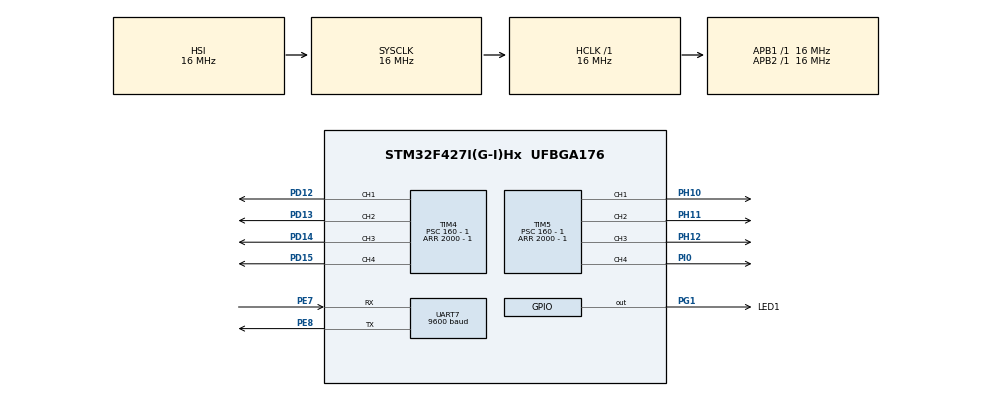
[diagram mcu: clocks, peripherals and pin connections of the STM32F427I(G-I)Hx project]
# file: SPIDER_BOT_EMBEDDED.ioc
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Mcu.Family=STM32F4
Mcu.Name=STM32F427I(G-I)Hx
Mcu.Package=UFBGA176
NVIC.PriorityGroup=NVIC_PRIORITYGROUP_4
NVIC.TIM1_BRK_TIM9_IRQn=true\:0\:0\:false\:false\:true\:true\:true\:true
NVIC.UART7_IRQn=true\:0\:0\:false\:false\:true\:true\:true\:true
PD12.Signal=S_TIM4_CH1
PD13.Signal=S_TIM4_CH2
PD14.Signal=S_TIM4_CH3
PD15.Signal=S_TIM4_CH4
PE7.Mode=Asynchronous
PE7.Signal=UART7_RX
PE8.Mode=Asynchronous
PE8.Signal=UART7_TX
PG1.GPIO_Label=LED1
PG1.Signal=GPIO_Output
PH10.Signal=S_TIM5_CH1
PH11.Signal=S_TIM5_CH2
PH12.Signal=S_TIM5_CH3
PI0.Signal=S_TIM5_CH4
ProjectManager.HeapSize=0x200
ProjectManager.StackSize=0x400
ProjectManager.TargetToolchain=Makefile
RCC.AHBFreq_Value=16000000
RCC.APB1Freq_Value=16000000
RCC.APB2Freq_Value=16000000
RCC.CortexFreq_Value=16000000
RCC.HSE_VALUE=25000000
RCC.HSI_VALUE=16000000
RCC.LSE_VALUE=32768
RCC.SYSCLKFreq_VALUE=16000000
RCC.VCOOutputFreq_Value=192000000
SH.S_TIM4_CH1.0=TIM4_CH1,PWM Generation1 CH1
SH.S_TIM4_CH2.0=TIM4_CH2,PWM Generation2 CH2
SH.S_TIM4_CH3.0=TIM4_CH3,PWM Generation3 CH3
SH.S_TIM4_CH4.0=TIM4_CH4,PWM Generation4 CH4
SH.S_TIM5_CH1.0=TIM5_CH1,PWM Generation1 CH1
SH.S_TIM5_CH2.0=TIM5_CH2,PWM Generation2 CH2
SH.S_TIM5_CH3.0=TIM5_CH3,PWM Generation3 CH3
SH.S_TIM5_CH4.0=TIM5_CH4,PWM Generation4 CH4
TIM4.Channel-PWM\ Generation1\ CH1=TIM_CHANNEL_1
TIM4.Channel-PWM\ Generation2\ CH2=TIM_CHANNEL_2
TIM4.Channel-PWM\ Generation3\ CH3=TIM_CHANNEL_3
TIM4.Channel-PWM\ Generation4\ CH4=TIM_CHANNEL_4
TIM4.Period=2000 - 1
TIM4.Prescaler=160 - 1
TIM4.Pulse-PWM\ Generation1\ CH1=150
TIM4.Pulse-PWM\ Generation2\ CH2=150
TIM4.Pulse-PWM\ Generation3\ CH3=150
TIM4.Pulse-PWM\ Generation4\ CH4=150
TIM5.Channel-PWM\ Generation1\ CH1=TIM_CHANNEL_1
TIM5.Channel-PWM\ Generation2\ CH2=TIM_CHANNEL_2
TIM5.Channel-PWM\ Generation3\ CH3=TIM_CHANNEL_3
TIM5.Channel-PWM\ Generation4\ CH4=TIM_CHANNEL_4
TIM5.Period=2000 - 1
TIM5.Prescaler=160 - 1
TIM5.Pulse-PWM\ Generation1\ CH1=150
TIM5.Pulse-PWM\ Generation2\ CH2=150
TIM5.Pulse-PWM\ Generation3\ CH3=150
TIM5.Pulse-PWM\ Generation4\ CH4=150
TIM9.AutoReloadPreload=TIM_AUTORELOAD_PRELOAD_ENABLE
TIM9.Period=100
TIM9.Prescaler=1600
UART7.BaudRate=9600
UART7.VirtualMode=Asynchronous
VP_TIM9_VS_ClockSourceINT.Mode=Internal
board=custom

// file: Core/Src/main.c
/* USER CODE BEGIN Header */
/**
 ******************************************************************************
 * @file           : main.c
 * @brief          : Main program body
 ******************************************************************************
 * @attention
 *
 * Copyright (c) 2023 STMicroelectronics.
 * All rights reserved.
 *
 * This software is licensed under terms that can be found in the LICENSE file
 * in the root directory of this software component.
 * If no LICENSE file comes with this software, it is provided AS-IS.
 *
 ******************************************************************************
 */
/* USER CODE END Header */
#include "main.h"

/* USER CODE BEGIN Includes */
#include <stdint.h>
/* USER CODE END Includes */

TIM_HandleTypeDef htim4;
TIM_HandleTypeDef htim5;
TIM_HandleTypeDef htim9;

UART_HandleTypeDef huart7;

/* USER CODE BEGIN PV */
struct Servo
{
  uint8_t minPulse;
  uint8_t maxPulse;
  TIM_HandleTypeDef *timerHandle;
  uint32_t timerChannel;
  uint8_t setPulse;
  uint8_t setAngle;
};

/*
 1 | 2
 -----
 3 | 4
*/
struct Servo wrists[4] = {{55, 130, &htim5, TIM_CHANNEL_1}, {175, 248, &htim5, TIM_CHANNEL_2}, {51, 140, &htim5, TIM_CHANNEL_3}, {80, 175, &htim5, TIM_CHANNEL_4}};
struct Servo legs[4] = {{81, 160, &htim4, TIM_CHANNEL_1}, {69, 210, &htim4, TIM_CHANNEL_2}, {51, 171, &htim4, TIM_CHANNEL_3}, {90, 247, &htim4, TIM_CHANNEL_4}};
/* USER CODE END PV */

void SystemClock_Config(void);
static void MX_GPIO_Init(void);
static void MX_TIM5_Init(void);
static void MX_TIM4_Init(void);
static void MX_TIM9_Init(void);
static void MX_UART7_Init(void);

/* USER CODE BEGIN 0 */
enum ServoType
{
  SERVO_TYPE_WRIST = 0,
  SERVO_TYPE_LEG = 1
};

void servoToAngle(int angle, struct Servo *servo);
void waveHand(void);

static volatile uint8_t rx[15] = {0};
/* USER CODE END 0 */

int main(void)
{

  /* MCU Configuration--------------------------------------------------------*/

  /* Reset of all peripherals, Initializes the Flash interface and the Systick. */
  HAL_Init();

  /* Configure the system clock */
  SystemClock_Config();

  /* Initialize all configured peripherals */
  MX_GPIO_Init();
  MX_TIM5_Init();
  MX_TIM4_Init();
  MX_TIM9_Init();
  MX_UART7_Init();

  /* Infinite loop */
  /* USER CODE BEGIN WHILE */
  HAL_TIM_Base_Start_IT(&htim9);
  static volatile uint16_t calibSetPulse[8] = {0};
  static volatile uint8_t setAngle[8] = {0};
  for (int i = 0; i < 4; i++)
  {
    HAL_TIM_PWM_Start(wrists[i].timerHandle, wrists[i].timerChannel);
    HAL_TIM_PWM_Start(legs[i].timerHandle, legs[i].timerChannel);
    calibSetPulse[i] = wrists[i].minPulse;
    calibSetPulse[i + 4] = legs[i].minPulse;

    setAngle[i] = setAngle[i + 4] = 45;
  }

  static volatile uint64_t cnt = 0;
  static volatile uint8_t heartBeat = 0;

  HAL_UART_Receive_IT(&huart7, (uint8_t *)rx, 12);

  // wrists[0].setAngle = 90;
  // wrists[1].setAngle = 0;
  // wrists[2].setAngle = 45;
  // wrists[3].setAngle = 45;
  // legs[0].setAngle = 10;
  // legs[1].setAngle = 10;
  // legs[2].setAngle = 10;
  // legs[3].setAngle = 90 - 10;

  // HAL_Delay(2000);

  // waveHand();

  wrists[0].setAngle = 90;
  wrists[1].setAngle = 0;
  wrists[2].setAngle = 45;
  wrists[3].setAngle = 45;
  legs[0].setAngle = 10;
  legs[1].setAngle = 10;
  legs[2].setAngle = 10;
  legs[3].setAngle = 90 - 10;

  HAL_Delay(5000);

  // legs[0].setAngle = 60;

  HAL_Delay(150);

  wrists[0].setAngle = 0;

  HAL_Delay(300);

  // legs[0].setAngle = 0;

  HAL_Delay(300);

  // legs[2].setAngle = 60;

  HAL_Delay(150);

  wrists[2].setAngle = 90;

  HAL_Delay(300);

  // legs[2].setAngle = 0;

  HAL_Delay(300);

  while (1)
  {
    /* USER CODE END WHILE */

    /* USER CODE BEGIN 3 */
    cnt++;
    if (cnt % 1000 == 0)
    {
      heartBeat++;
      HAL_UART_Transmit(&huart7, (uint8_t *)&heartBeat, 1, 10);
    }

    // for (int i = 0; i < 4; i++)
    // {

    //   // __HAL_TIM_SET_COMPARE(legs[i].timerHandle, legs[i].timerChannel, calibSetPulse[i + 4]);
    // }

    // legs[0].setAngle = 60;

    HAL_Delay(150);

    wrists[0].setAngle = wrists[1].setAngle = 90;

    HAL_Delay(300);

    // legs[0].setAngle = 0;

    HAL_Delay(300);

    // legs[2].setAngle = 60;

    HAL_Delay(150);

    wrists[2].setAngle = wrists[3].setAngle = 0;

    HAL_Delay(300);

    // legs[2].setAngle = 0;

    HAL_Delay(300);

    // legs[0].setAngle = 60;

    HAL_Delay(150);

    wrists[0].setAngle = wrists[1].setAngle = 0;

    HAL_Delay(300);

    // legs[0].setAngle = 0;

    HAL_Delay(300);

    // legs[2].setAngle = 60;

    HAL_Delay(150);

    wrists[2].setAngle = wrists[3].setAngle = 90;

    HAL_Delay(300);

    // legs[2].setAngle = 0;

    HAL_Delay(300);
  }
  /* USER CODE END 3 */
}

void SystemClock_Config(void)
{
  RCC_OscInitTypeDef RCC_OscInitStruct = {0};
  RCC_ClkInitTypeDef RCC_ClkInitStruct = {0};

  /** Configure the main internal regulator output voltage
   */
  __HAL_RCC_PWR_CLK_ENABLE();
  __HAL_PWR_VOLTAGESCALING_CONFIG(PWR_REGULATOR_VOLTAGE_SCALE3);

  /** Initializes the RCC Oscillators according to the specified parameters
   * in the RCC_OscInitTypeDef structure.
   */
  RCC_OscInitStruct.OscillatorType = RCC_OSCILLATORTYPE_HSI;
  RCC_OscInitStruct.HSIState = RCC_HSI_ON;
  RCC_OscInitStruct.HSICalibrationValue = RCC_HSICALIBRATION_DEFAULT;
  RCC_OscInitStruct.PLL.PLLState = RCC_PLL_NONE;
  if (HAL_RCC_OscConfig(&RCC_OscInitStruct) != HAL_OK)
  {
    Error_Handler();
  }

  /** Initializes the CPU, AHB and APB buses clocks
   */
  RCC_ClkInitStruct.ClockType = RCC_CLOCKTYPE_HCLK | RCC_CLOCKTYPE_SYSCLK | RCC_CLOCKTYPE_PCLK1 | RCC_CLOCKTYPE_PCLK2;
  RCC_ClkInitStruct.SYSCLKSource = RCC_SYSCLKSOURCE_HSI;
  RCC_ClkInitStruct.AHBCLKDivider = RCC_SYSCLK_DIV1;
  RCC_ClkInitStruct.APB1CLKDivider = RCC_HCLK_DIV1;
  RCC_ClkInitStruct.APB2CLKDivider = RCC_HCLK_DIV1;

  if (HAL_RCC_ClockConfig(&RCC_ClkInitStruct, FLASH_LATENCY_0) != HAL_OK)
  {
    Error_Handler();
  }
}

static void MX_TIM4_Init(void)
{

  TIM_MasterConfigTypeDef sMasterConfig = {0};
  TIM_OC_InitTypeDef sConfigOC = {0};

  htim4.Instance = TIM4;
  htim4.Init.Prescaler = 160 - 1;
  htim4.Init.CounterMode = TIM_COUNTERMODE_UP;
  htim4.Init.Period = 2000 - 1;
  htim4.Init.ClockDivision = TIM_CLOCKDIVISION_DIV1;
  htim4.Init.AutoReloadPreload = TIM_AUTORELOAD_PRELOAD_DISABLE;
  if (HAL_TIM_PWM_Init(&htim4) != HAL_OK)
  {
    Error_Handler();
  }
  sMasterConfig.MasterOutputTrigger = TIM_TRGO_RESET;
  sMasterConfig.MasterSlaveMode = TIM_MASTERSLAVEMODE_DISABLE;
  if (HAL_TIMEx_MasterConfigSynchronization(&htim4, &sMasterConfig) != HAL_OK)
  {
    Error_Handler();
  }
  sConfigOC.OCMode = TIM_OCMODE_PWM1;
  sConfigOC.Pulse = 150;
  sConfigOC.OCPolarity = TIM_OCPOLARITY_HIGH;
  sConfigOC.OCFastMode = TIM_OCFAST_DISABLE;
  if (HAL_TIM_PWM_ConfigChannel(&htim4, &sConfigOC, TIM_CHANNEL_1) != HAL_OK)
  {
    Error_Handler();
  }
  if (HAL_TIM_PWM_ConfigChannel(&htim4, &sConfigOC, TIM_CHANNEL_2) != HAL_OK)
  {
    Error_Handler();
  }
  if (HAL_TIM_PWM_ConfigChannel(&htim4, &sConfigOC, TIM_CHANNEL_3) != HAL_OK)
  {
    Error_Handler();
  }
  if (HAL_TIM_PWM_ConfigChannel(&htim4, &sConfigOC, TIM_CHANNEL_4) != HAL_OK)
  {
    Error_Handler();
  }
  HAL_TIM_MspPostInit(&htim4);
}

static void MX_TIM5_Init(void)
{

  TIM_MasterConfigTypeDef sMasterConfig = {0};
  TIM_OC_InitTypeDef sConfigOC = {0};

  htim5.Instance = TIM5;
  htim5.Init.Prescaler = 160 - 1;
  htim5.Init.CounterMode = TIM_COUNTERMODE_UP;
  htim5.Init.Period = 2000 - 1;
  htim5.Init.ClockDivision = TIM_CLOCKDIVISION_DIV1;
  htim5.Init.AutoReloadPreload = TIM_AUTORELOAD_PRELOAD_DISABLE;
  if (HAL_TIM_PWM_Init(&htim5) != HAL_OK)
  {
    Error_Handler();
  }
  sMasterConfig.MasterOutputTrigger = TIM_TRGO_RESET;
  sMasterConfig.MasterSlaveMode = TIM_MASTERSLAVEMODE_DISABLE;
  if (HAL_TIMEx_MasterConfigSynchronization(&htim5, &sMasterConfig) != HAL_OK)
  {
    Error_Handler();
  }
  sConfigOC.OCMode = TIM_OCMODE_PWM1;
  sConfigOC.Pulse = 150;
  sConfigOC.OCPolarity = TIM_OCPOLARITY_HIGH;
  sConfigOC.OCFastMode = TIM_OCFAST_DISABLE;
  if (HAL_TIM_PWM_ConfigChannel(&htim5, &sConfigOC, TIM_CHANNEL_1) != HAL_OK)
  {
    Error_Handler();
  }
  if (HAL_TIM_PWM_ConfigChannel(&htim5, &sConfigOC, TIM_CHANNEL_2) != HAL_OK)
  {
    Error_Handler();
  }
  if (HAL_TIM_PWM_ConfigChannel(&htim5, &sConfigOC, TIM_CHANNEL_3) != HAL_OK)
  {
    Error_Handler();
  }
  if (HAL_TIM_PWM_ConfigChannel(&htim5, &sConfigOC, TIM_CHANNEL_4) != HAL_OK)
  {
    Error_Handler();
  }
  HAL_TIM_MspPostInit(&htim5);
}

static void MX_TIM9_Init(void)
{

  TIM_ClockConfigTypeDef sClockSourceConfig = {0};

  htim9.Instance = TIM9;
  htim9.Init.Prescaler = 1600;
  htim9.Init.CounterMode = TIM_COUNTERMODE_UP;
  htim9.Init.Period = 100;
  htim9.Init.ClockDivision = TIM_CLOCKDIVISION_DIV1;
  htim9.Init.AutoReloadPreload = TIM_AUTORELOAD_PRELOAD_ENABLE;
  if (HAL_TIM_Base_Init(&htim9) != HAL_OK)
  {
    Error_Handler();
  }
  sClockSourceConfig.ClockSource = TIM_CLOCKSOURCE_INTERNAL;
  if (HAL_TIM_ConfigClockSource(&htim9, &sClockSourceConfig) != HAL_OK)
  {
    Error_Handler();
  }
}

static void MX_UART7_Init(void)
{

  huart7.Instance = UART7;
  huart7.Init.BaudRate = 9600;
  huart7.Init.WordLength = UART_WORDLENGTH_8B;
  huart7.Init.StopBits = UART_STOPBITS_1;
  huart7.Init.Parity = UART_PARITY_NONE;
  huart7.Init.Mode = UART_MODE_TX_RX;
  huart7.Init.HwFlowCtl = UART_HWCONTROL_NONE;
  huart7.Init.OverSampling = UART_OVERSAMPLING_16;
  if (HAL_UART_Init(&huart7) != HAL_OK)
  {
    Error_Handler();
  }
}

static void MX_GPIO_Init(void)
{
  GPIO_InitTypeDef GPIO_InitStruct = {0};

  /* GPIO Ports Clock Enable */
  __HAL_RCC_GPIOI_CLK_ENABLE();
  __HAL_RCC_GPIOH_CLK_ENABLE();
  __HAL_RCC_GPIOD_CLK_ENABLE();
  __HAL_RCC_GPIOG_CLK_ENABLE();
  __HAL_RCC_GPIOE_CLK_ENABLE();

  /*Configure GPIO pin Output Level */
  HAL_GPIO_WritePin(LED1_GPIO_Port, LED1_Pin, GPIO_PIN_RESET);

  /*Configure GPIO pin : LED1_Pin */
  GPIO_InitStruct.Pin = LED1_Pin;
  GPIO_InitStruct.Mode = GPIO_MODE_OUTPUT_PP;
  GPIO_InitStruct.Pull = GPIO_NOPULL;
  GPIO_InitStruct.Speed = GPIO_SPEED_FREQ_LOW;
  HAL_GPIO_Init(LED1_GPIO_Port, &GPIO_InitStruct);
}

/* USER CODE BEGIN 4 */
static volatile uint32_t counter = 0;
static volatile uint8_t msg[8] = {0, 1, 2, 3, 4, 5, 6, 7};
void HAL_TIM_PeriodElapsedCallback(TIM_HandleTypeDef *htim)
{
  counter++;

  if (counter % 100 == 0) // 1Hz
    HAL_GPIO_TogglePin(LED1_GPIO_Port, LED1_Pin);

  for (int i = 0; i < 4; i++)
  {
    servoToAngle(wrists[i].setAngle, &wrists[i]);
    __HAL_TIM_SET_COMPARE(wrists[i].timerHandle, wrists[i].timerChannel, wrists[i].setPulse);

    servoToAngle(legs[i].setAngle, &legs[i]);
    __HAL_TIM_SET_COMPARE(legs[i].timerHandle, legs[i].timerChannel, legs[i].setPulse);
  }
}

void servoToAngle(int angle, struct Servo *servo)
{
  if (angle >= 90)
    angle = 90;
  else if (angle <= 0)
    angle = 0;

  servo->setPulse = (int)((angle / 90.0f) * (servo->maxPulse - servo->minPulse)) + servo->minPulse;
}

void waveHand(void)
{
  legs[0].setAngle = 85;
  HAL_Delay(100);

  for (int i = 0; i < 3; i++)
  {
    wrists[0].setAngle = 85;
    HAL_Delay(450);
    wrists[0].setAngle = 5;
    HAL_Delay(340);
  }
}

void HAL_UART_RxCpltCallback(UART_HandleTypeDef *huart)
{
  // HAL_UART_Transmit(&huart7, (uint8_t *)msg, 3, 5);
  HAL_UART_Receive_IT(&huart7, (uint8_t *)rx, 1);
}
/* USER CODE END 4 */

void Error_Handler(void)
{
  __disable_irq();
  while (1)
  {
  }
}
